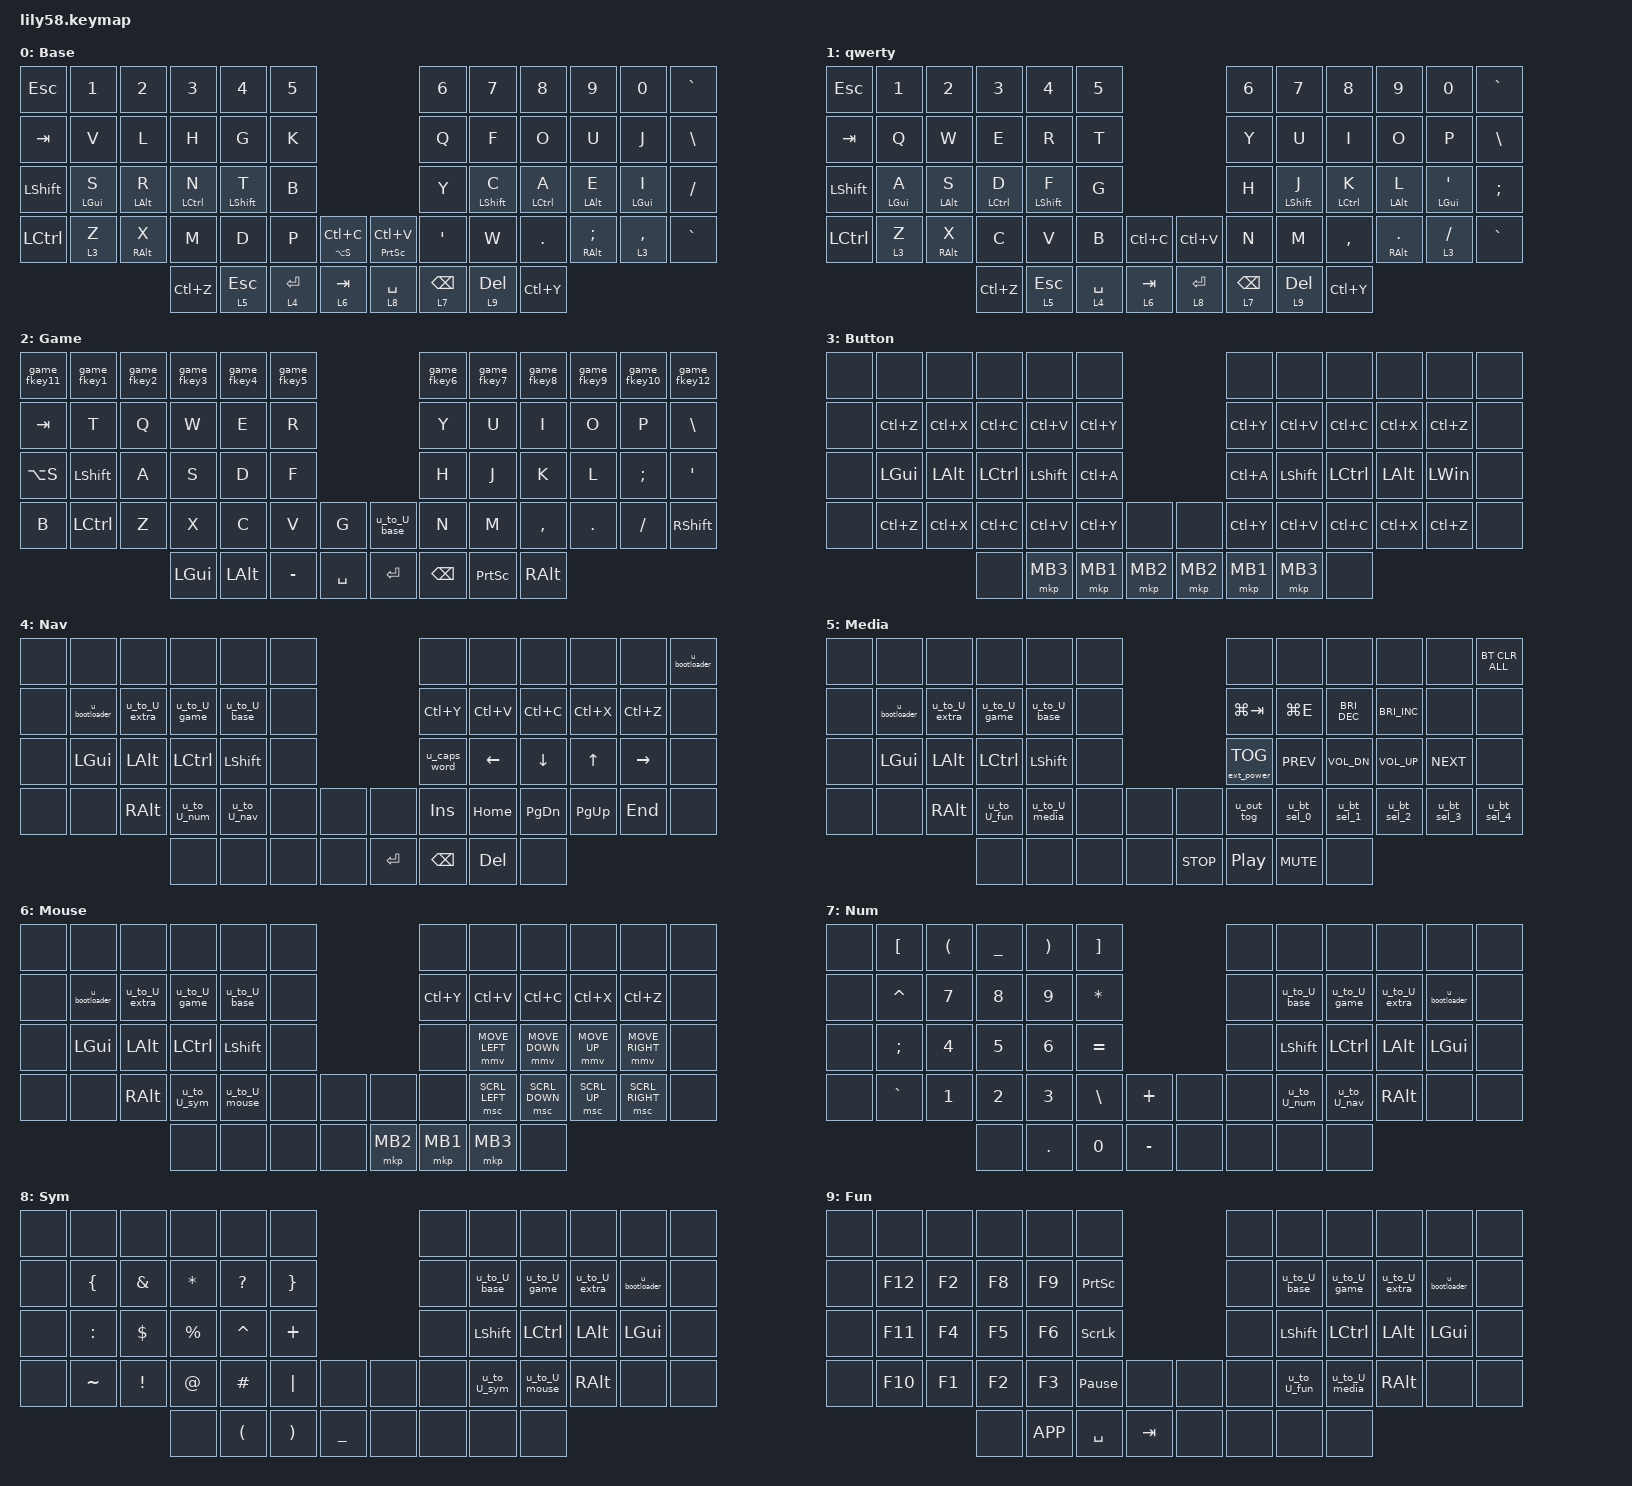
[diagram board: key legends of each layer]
/*
 * Copyright (c) 2020 The ZMK Contributors
 *
 * SPDX-License-Identifier: MIT
 */

#include <behaviors.dtsi>
#include <dt-bindings/zmk/bt.h>
#include <dt-bindings/zmk/ext_power.h>
#include <dt-bindings/zmk/keys.h>
#include <dt-bindings/zmk/outputs.h>
#include <dt-bindings/zmk/pointing.h>

&mmv {
    delay-ms = <0>;
    time-to-max-speed-ms = <1500>;
    acceleration-exponent = <1>;
};

/ {
    sensors {
        compatible = "zmk,keymap-sensors";
        sensors = <&left_encoder &right_encoder>;
        triggers-per-rotation = <20>;
    };
};

&nice_view_spi { cs-gpios = <&pro_micro 4 GPIO_ACTIVE_HIGH>; };

/ {
    behaviors {
        u_to_U_base: u_to_U_base {
            compatible = "zmk,behavior-tap-dance";
            label = "U_TO_U_BASE";
            #binding-cells = <0>;
            bindings = <&none>, <&to 0>;
        };

        u_to_U_game: u_to_U_game {
            compatible = "zmk,behavior-tap-dance";
            label = "U_TO_U_GAME";
            #binding-cells = <0>;
            bindings = <&none>, <&to 2>;
        };

        u_to_U_nav: u_to_U_nav {
            compatible = "zmk,behavior-tap-dance";
            label = "U_TO_U_NAV";
            #binding-cells = <0>;
            bindings = <&none>, <&to 4>;
        };

        u_to_U_num: u_to_U_num {
            compatible = "zmk,behavior-tap-dance";
            label = "U_TO_U_NUM";
            #binding-cells = <0>;
            bindings = <&none>, <&to 7>;
        };

        u_to_U_media: u_to_U_media {
            compatible = "zmk,behavior-tap-dance";
            label = "U_TO_U_MEDIA";
            #binding-cells = <0>;
            bindings = <&none>, <&to 5>;
        };

        u_to_U_fun: u_to_U_fun {
            compatible = "zmk,behavior-tap-dance";
            label = "U_TO_U_FUN";
            #binding-cells = <0>;
            bindings = <&none>, <&to 9>;
        };

        u_to_U_mouse: u_to_U_mouse {
            compatible = "zmk,behavior-tap-dance";
            label = "U_TO_U_MOUSE";
            #binding-cells = <0>;
            bindings = <&none>, <&to 6>;
        };

        u_to_U_sym: u_to_U_sym {
            compatible = "zmk,behavior-tap-dance";
            label = "U_TO_U_SYM";
            #binding-cells = <0>;
            bindings = <&none>, <&to 8>;
        };

        u_bootloader: u_bootloader {
            compatible = "zmk,behavior-tap-dance";
            label = "U_BOOTLOADER";
            #binding-cells = <0>;
            bindings = <&none>, <&bootloader>;
        };

        u_bt_sel_0: u_bt_sel_0 {
            compatible = "zmk,behavior-mod-morph";
            label = "U_BT_SEL_0";
            bindings = <&bt BT_SEL 0>, <&u_macro_u_bt_sel_0>;

            #binding-cells = <0>;
            mods = <(MOD_LSFT|MOD_RSFT)>;
        };

        u_bt_sel_1: u_bt_sel_1 {
            compatible = "zmk,behavior-mod-morph";
            label = "U_BT_SEL_1";
            bindings = <&bt BT_SEL 1>, <&u_macro_u_bt_sel_1>;

            #binding-cells = <0>;
            mods = <(MOD_LSFT|MOD_RSFT)>;
        };

        u_bt_sel_2: u_bt_sel_2 {
            compatible = "zmk,behavior-mod-morph";
            label = "U_BT_SEL_2";
            bindings = <&bt BT_SEL 2>, <&u_macro_u_bt_sel_2>;

            #binding-cells = <0>;
            mods = <(MOD_LSFT|MOD_RSFT)>;
        };

        u_bt_sel_3: u_bt_sel_3 {
            compatible = "zmk,behavior-mod-morph";
            label = "U_BT_SEL_3";
            bindings = <&bt BT_SEL 3>, <&u_macro_u_bt_sel_3>;

            #binding-cells = <0>;
            mods = <(MOD_LSFT|MOD_RSFT)>;
        };

        u_bt_sel_4: u_bt_sel_4 {
            compatible = "zmk,behavior-mod-morph";
            label = "U_BT_SEL_4";
            bindings = <&bt BT_SEL 4>, <&u_macro_u_bt_sel_4>;

            #binding-cells = <0>;
            mods = <(MOD_LSFT|MOD_RSFT)>;
        };

        u_out_tog: u_out_tog {
            compatible = "zmk,behavior-mod-morph";
            label = "U_OUT_TOG";
            bindings = <&out OUT_TOG>, <&out OUT_USB>;

            #binding-cells = <0>;
            mods = <(MOD_LSFT|MOD_RSFT)>;
        };

        u_caps_word: u_caps_word {
            compatible = "zmk,behavior-mod-morph";
            label = "U_CAPS_WORD";
            bindings = <&caps_word>, <&kp CAPS>;

            #binding-cells = <0>;
            mods = <(MOD_LSFT|MOD_RSFT)>;
        };

        u_to_U_extra: u_to_U_extra {
            compatible = "zmk,behavior-tap-dance";
            label = "U_TO_U_EXTRA";
            #binding-cells = <0>;
            bindings = <&none>, <&to 1>;
        };

        home_row_mod_left: home_row_mod_left {
            compatible = "zmk,behavior-hold-tap";
            label = "HOME_ROW_MOD_LEFT";
            bindings = <&kp>, <&kp>;

            #binding-cells = <2>;
            flavor = "balanced";
            require-prior-idle-ms = <150>;
            quick-tap-ms = <175>;
            tapping-term-ms = <280>;
            hold-trigger-on-release;
            hold-trigger-key-positions = <30 31 32 33 34 18 19 20 21 22 30 31 32 33 34 44 45 46 47 48 6 7 8 9 10 49 11 23 35>;
        };

        home_row_mod_right: home_row_mod_right {
            compatible = "zmk,behavior-hold-tap";
            label = "HOME_ROW_MOD_RIGHT";
            bindings = <&kp>, <&kp>;

            #binding-cells = <2>;
            tapping-term-ms = <280>;
            quick-tap-ms = <175>;
            require-prior-idle-ms = <150>;
            flavor = "balanced";
            hold-trigger-key-positions = <0 1 2 3 4 5 12 13 14 15 16 17 24 25 26 27 28 29 37 38 39 40 41 36>;
            hold-trigger-on-release;
        };

        u_to_U_button: u_to_U_button {
            compatible = "zmk,behavior-tap-dance";
            label = "U_TO_U_BUTTON";
            #binding-cells = <0>;
            bindings = <&none>, <&to 3>;
        };

        auto_shift: auto_shift {
            compatible = "zmk,behavior-hold-tap";
            label = "AUTO_SHIFT";
            bindings = <&kp>, <&kp>;

            #binding-cells = <2>;
            tapping-term-ms = <135>;
            quick-tap-ms = <0>;
            flavor = "tap-preferred";
        };

        game_fkey1: game_fkey1 {
            compatible = "zmk,behavior-mod-morph";
            label = "GAME_FKEY1";
            bindings = <&kp NUMBER_1>, <&kp F1>;

            #binding-cells = <0>;
            mods = <(MOD_RALT)>;
        };

        game_fkey2: game_fkey2 {
            compatible = "zmk,behavior-mod-morph";
            label = "GAME_FKEY2";
            bindings = <&kp NUMBER_2>, <&kp F2>;

            #binding-cells = <0>;
            mods = <(MOD_RALT)>;
        };

        game_fkey3: game_fkey3 {
            compatible = "zmk,behavior-mod-morph";
            label = "GAME_FKEY3";
            bindings = <&kp NUMBER_3>, <&kp F3>;

            #binding-cells = <0>;
            mods = <(MOD_RALT)>;
        };

        game_fkey4: game_fkey4 {
            compatible = "zmk,behavior-mod-morph";
            label = "GAME_FKEY4";
            bindings = <&kp NUMBER_4>, <&kp F4>;

            #binding-cells = <0>;
            mods = <(MOD_RALT)>;
        };

        game_fkey5: game_fkey5 {
            compatible = "zmk,behavior-mod-morph";
            label = "GAME_FKEY5";
            bindings = <&kp NUMBER_5>, <&kp F5>;

            #binding-cells = <0>;
            mods = <(MOD_RALT)>;
        };

        game_fkey6: game_fkey6 {
            compatible = "zmk,behavior-mod-morph";
            label = "GAME_FKEY6";
            bindings = <&kp NUMBER_6>, <&kp F6>;

            #binding-cells = <0>;
            mods = <(MOD_RALT)>;
        };

        game_fkey7: game_fkey7 {
            compatible = "zmk,behavior-mod-morph";
            label = "GAME_FKEY7";
            bindings = <&kp NUMBER_7>, <&kp F7>;

            #binding-cells = <0>;
            mods = <(MOD_RALT)>;
        };

        game_fkey8: game_fkey8 {
            compatible = "zmk,behavior-mod-morph";
            label = "GAME_FKEY8";
            bindings = <&kp NUMBER_8>, <&kp F8>;

            #binding-cells = <0>;
            mods = <(MOD_RALT)>;
        };

        game_fkey9: game_fkey9 {
            compatible = "zmk,behavior-mod-morph";
            label = "GAME_FKEY9";
            bindings = <&kp NUMBER_9>, <&kp F9>;

            #binding-cells = <0>;
            mods = <(MOD_RALT)>;
        };

        game_fkey10: game_fkey10 {
            compatible = "zmk,behavior-mod-morph";
            label = "GAME_FKEY10";
            bindings = <&kp NUMBER_0>, <&kp F10>;

            #binding-cells = <0>;
            mods = <(MOD_RALT)>;
        };

        game_fkey11: game_fkey11 {
            compatible = "zmk,behavior-mod-morph";
            label = "GAME_FKEY11";
            bindings = <&kp ESCAPE>, <&kp F11>;

            #binding-cells = <0>;
            mods = <(MOD_RALT)>;
        };

        game_fkey12: game_fkey12 {
            compatible = "zmk,behavior-mod-morph";
            label = "GAME_FKEY12";
            bindings = <&kp GRAVE>, <&kp F12>;

            #binding-cells = <0>;
            mods = <(MOD_RALT)>;
        };
    };

    combos {
        compatible = "zmk,combos";

        DUALLOCK {
            bindings = <&kp CAPS>;
            key-positions = <28 31>;
            layers = <0>;
        };
    };

    macros {
        u_macro_u_bt_sel_0: u_macro_u_bt_sel_0 {
            compatible = "zmk,behavior-macro";
            #binding-cells = <0>;
            bindings = <&bt BT_SEL 0 &bt BT_CLR>;
            label = "U_MACRO_U_BT_SEL_0";
        };

        u_macro_u_bt_sel_1: u_macro_u_bt_sel_1 {
            compatible = "zmk,behavior-macro";
            #binding-cells = <0>;
            bindings = <&bt BT_SEL 1 &bt BT_CLR>;
            label = "U_MACRO_U_BT_SEL_1";
        };

        u_macro_u_bt_sel_2: u_macro_u_bt_sel_2 {
            compatible = "zmk,behavior-macro";
            #binding-cells = <0>;
            bindings = <&bt BT_SEL 2 &bt BT_CLR>;
            label = "U_MACRO_U_BT_SEL_2";
        };

        u_macro_u_bt_sel_3: u_macro_u_bt_sel_3 {
            compatible = "zmk,behavior-macro";
            #binding-cells = <0>;
            bindings = <&bt BT_SEL 3 &bt BT_CLR>;
            label = "U_MACRO_U_BT_SEL_3";
        };

        u_macro_u_bt_sel_4: u_macro_u_bt_sel_4 {
            compatible = "zmk,behavior-macro";
            #binding-cells = <0>;
            bindings = <&bt BT_SEL 4 &bt BT_CLR>;
            label = "U_MACRO_U_BT_SEL_4";
        };
    };

    keymap {
        compatible = "zmk,keymap";

        BASE {
            display-name = "Base";
            bindings = <
&kp ESC         &kp NUMBER_1                   &kp NUMBER_2                   &kp NUMBER_3                &kp NUMBER_4                     &kp NUMBER_5                                                                           &kp NUMBER_6     &kp NUMBER_7                      &kp NUMBER_8                        &kp NUMBER_9                    &kp NUMBER_0                    &kp GRAVE
&kp TAB         &kp V                          &kp L                          &kp H                       &kp G                            &kp K                                                                                  &kp Q            &kp F                             &kp O                               &kp U                           &kp J                           &kp BACKSLASH
&kp LEFT_SHIFT  &home_row_mod_left LEFT_GUI S  &home_row_mod_left LEFT_ALT R  &home_row_mod_left LCTRL N  &home_row_mod_left LEFT_SHIFT T  &kp B                                                                                  &kp Y            &home_row_mod_right LEFT_SHIFT C  &home_row_mod_right LEFT_CONTROL A  &home_row_mod_right LEFT_ALT E  &home_row_mod_right LEFT_GUI I  &kp SLASH
&kp LCTRL       &lt 3 Z                        &home_row_mod_left RALT X      &kp M                       &kp D                            &kp P         &home_row_mod_left LA(S) LC(C)    &home_row_mod_right PRINTSCREEN LC(V)  &kp SQT          &kp W                             &kp PERIOD                          &home_row_mod_right RALT SEMI   &lt 3 COMMA                     &kp GRAVE
                                                                              &kp LC(Z)                   &lt 5 ESCAPE                     &lt 4 ENTER   &lt 6 TAB                         &lt 8 SPACE                            &lt 7 BACKSPACE  &lt 9 DELETE                      &kp LC(Y)
            >;

            label = "Base";
        };

        EXTRA {
            display-name = "qwerty";
            bindings = <
&kp ESC         &kp NUMBER_1                   &kp NUMBER_2                   &kp NUMBER_3                &kp NUMBER_4                     &kp NUMBER_5                            &kp NUMBER_6     &kp NUMBER_7                      &kp NUMBER_8                        &kp NUMBER_9                    &kp NUMBER_0                      &kp GRAVE
&kp TAB         &kp Q                          &kp W                          &kp E                       &kp R                            &kp T                                   &kp Y            &kp U                             &kp I                               &kp O                           &kp P                             &kp BACKSLASH
&kp LEFT_SHIFT  &home_row_mod_left LEFT_GUI A  &home_row_mod_left LEFT_ALT S  &home_row_mod_left LCTRL D  &home_row_mod_left LEFT_SHIFT F  &kp G                                   &kp H            &home_row_mod_right LEFT_SHIFT J  &home_row_mod_right LEFT_CONTROL K  &home_row_mod_right LEFT_ALT L  &home_row_mod_right LEFT_GUI SQT  &kp SEMICOLON
&kp LCTRL       &lt 3 Z                        &home_row_mod_left RALT X      &kp C                       &kp V                            &kp B         &kp LC(C)    &kp LC(V)    &kp N            &kp M                             &kp COMMA                           &home_row_mod_right RALT DOT    &lt 3 FSLH                        &kp GRAVE
                                                                              &kp LC(Z)                   &lt 5 ESCAPE                     &lt 4 SPACE   &lt 6 TAB    &lt 8 ENTER  &lt 7 BACKSPACE  &lt 9 DELETE                      &kp LC(Y)
            >;

            label = "Extra";
        };

        GAME {
            display-name = "Game";
            bindings = <
&game_fkey11  &game_fkey1  &game_fkey2  &game_fkey3   &game_fkey4   &game_fkey5                             &game_fkey6    &game_fkey7      &game_fkey8  &game_fkey9  &game_fkey10   &game_fkey12
&kp TAB       &kp T        &kp Q        &kp W         &kp E         &kp R                                   &kp Y          &kp U            &kp I        &kp O        &kp P          &kp BACKSLASH
&kp LA(S)     &kp LSHFT    &kp A        &kp S         &kp D         &kp F                                   &kp H          &kp J            &kp K        &kp L        &kp SEMICOLON  &kp SQT
&kp B         &kp LCTRL    &kp Z        &kp X         &kp C         &kp V        &kp G        &u_to_U_base  &kp N          &kp M            &kp COMMA    &kp DOT      &kp SLASH      &kp RSHFT
                                        &kp LEFT_GUI  &kp LEFT_ALT  &kp MINUS    &kp SPACE    &kp ENTER     &kp BACKSPACE  &kp PRINTSCREEN  &kp RALT
            >;

            label = "Game";
        };

        BUTTON {
            display-name = "Button";
            bindings = <
&none  &none         &none         &none      &none       &none                            &none      &none           &none      &none         &none         &none
&none  &kp LC(Z)     &kp LC(X)     &kp LC(C)  &kp LC(V)   &kp LC(Y)                        &kp LC(Y)  &kp LC(V)       &kp LC(C)  &kp LC(X)     &kp LC(Z)     &none
&none  &kp LEFT_GUI  &kp LEFT_ALT  &kp LCTRL  &kp LSHIFT  &kp LC(A)                        &kp LC(A)  &kp LEFT_SHIFT  &kp LCTRL  &kp LEFT_ALT  &kp LEFT_WIN  &none
&none  &kp LC(Z)     &kp LC(X)     &kp LC(C)  &kp LC(V)   &kp LC(Y)  &none       &none     &kp LC(Y)  &kp LC(V)       &kp LC(C)  &kp LC(X)     &kp LC(Z)     &none
                                   &none      &mkp MB3    &mkp MB1   &mkp MB2    &mkp MB2  &mkp MB1   &mkp MB3        &none
            >;

            label = "Button";
        };

        NAV {
            display-name = "Nav";
            bindings = <
&none  &none          &none          &none         &none           &none                      &none          &none      &none          &none         &none      &u_bootloader
&none  &u_bootloader  &u_to_U_extra  &u_to_U_game  &u_to_U_base    &none                      &kp LC(Y)      &kp LC(V)  &kp LC(C)      &kp LC(X)     &kp LC(Z)  &none
&none  &kp LEFT_GUI   &kp LEFT_ALT   &kp LCTRL     &kp LEFT_SHIFT  &none                      &u_caps_word   &kp LEFT   &kp DOWN       &kp UP_ARROW  &kp RIGHT  &none
&none  &none          &kp RALT       &u_to_U_num   &u_to_U_nav     &none  &none    &none      &kp INS        &kp HOME   &kp PAGE_DOWN  &kp PAGE_UP   &kp END    &none
                                     &none         &none           &none  &none    &kp ENTER  &kp BACKSPACE  &kp DEL    &none
            >;

            label = "Nav";
        };

        MEDIA {
            display-name = "Media";
            bindings = <
&none  &none          &none          &none         &none           &none                       &none              &none        &none                 &none                 &none        &bt BT_CLR_ALL
&none  &u_bootloader  &u_to_U_extra  &u_to_U_game  &u_to_U_base    &none                       &kp LG(TAB)        &kp LG(E)    &kp C_BRIGHTNESS_DEC  &kp C_BRIGHTNESS_INC  &none        &none
&none  &kp LEFT_GUI   &kp LEFT_ALT   &kp LCTRL     &kp LEFT_SHIFT  &none                       &ext_power EP_TOG  &kp C_PREV   &kp C_VOL_DN          &kp C_VOL_UP          &kp C_NEXT   &none
&none  &none          &kp RALT       &u_to_U_fun   &u_to_U_media   &none  &none    &none       &u_out_tog         &u_bt_sel_0  &u_bt_sel_1           &u_bt_sel_2           &u_bt_sel_3  &u_bt_sel_4
                                     &none         &none           &none  &none    &kp C_STOP  &kp C_PLAY_PAUSE   &kp C_MUTE   &none
            >;

            label = "Media";
        };

        MOUSE {
            display-name = "Mouse";
            bindings = <
&none  &none          &none          &none         &none           &none                     &none      &none           &none           &none         &none            &none
&none  &u_bootloader  &u_to_U_extra  &u_to_U_game  &u_to_U_base    &none                     &kp LC(Y)  &kp LC(V)       &kp LC(C)       &kp LC(X)     &kp LC(Z)        &none
&none  &kp LEFT_GUI   &kp LEFT_ALT   &kp LCTRL     &kp LEFT_SHIFT  &none                     &none      &mmv MOVE_LEFT  &mmv MOVE_DOWN  &mmv MOVE_UP  &mmv MOVE_RIGHT  &none
&none  &none          &kp RALT       &u_to_U_sym   &u_to_U_mouse   &none  &none    &none     &none      &msc SCRL_LEFT  &msc SCRL_DOWN  &msc SCRL_UP  &msc SCRL_RIGHT  &none
                                     &none         &none           &none  &none    &mkp MB2  &mkp MB1   &mkp MB3        &none
            >;

            label = "Mouse";
        };

        NUM {
            display-name = "Num";
            bindings = <
&none  &kp LEFT_BRACKET  &kp LEFT_PARENTHESIS  &kp UNDER     &kp RIGHT_PARENTHESIS  &kp RIGHT_BRACKET                      &none  &none           &none         &none          &none          &none
&none  &kp CARET         &kp NUMBER_7          &kp NUMBER_8  &kp NUMBER_9           &kp ASTERISK                           &none  &u_to_U_base    &u_to_U_game  &u_to_U_extra  &u_bootloader  &none
&none  &kp SEMICOLON     &kp NUMBER_4          &kp NUMBER_5  &kp NUMBER_6           &kp EQUAL                              &none  &kp LEFT_SHIFT  &kp LCTRL     &kp LEFT_ALT   &kp LEFT_GUI   &none
&none  &kp GRAVE         &kp NUMBER_1          &kp NUMBER_2  &kp NUMBER_3           &kp BACKSLASH      &kp PLUS     &none  &none  &u_to_U_num     &u_to_U_nav   &kp RALT       &none          &none
                                               &none         &kp PERIOD             &kp NUMBER_0       &kp MINUS    &none  &none  &none           &none
            >;

            label = "Num";
        };

        SYM {
            display-name = "Sym";
            bindings = <
&none  &none           &none            &none        &none                 &none                                      &none  &none           &none          &none          &none          &none
&none  &kp LEFT_BRACE  &kp AMPS         &kp ASTRK    &kp QMARK             &kp RIGHT_BRACE                            &none  &u_to_U_base    &u_to_U_game   &u_to_U_extra  &u_bootloader  &none
&none  &kp COLON       &kp DOLLAR       &kp PERCENT  &kp CARET             &kp PLUS                                   &none  &kp LEFT_SHIFT  &kp LCTRL      &kp LEFT_ALT   &kp LEFT_GUI   &none
&none  &kp TILDE       &kp EXCLAMATION  &kp AT_SIGN  &kp HASH              &kp PIPE               &none        &none  &none  &u_to_U_sym     &u_to_U_mouse  &kp RALT       &none          &none
                                        &none        &kp LEFT_PARENTHESIS  &kp RIGHT_PARENTHESIS  &kp UNDER    &none  &none  &none           &none
            >;

            label = "Sym";
        };

        FUN {
            display-name = "Fun";
            bindings = <
&none  &none    &none   &none   &none      &none                              &none  &none           &none          &none          &none          &none
&none  &kp F12  &kp F2  &kp F8  &kp F9     &kp PRINTSCREEN                    &none  &u_to_U_base    &u_to_U_game   &u_to_U_extra  &u_bootloader  &none
&none  &kp F11  &kp F4  &kp F5  &kp F6     &kp SCROLLLOCK                     &none  &kp LEFT_SHIFT  &kp LCTRL      &kp LEFT_ALT   &kp LEFT_GUI   &none
&none  &kp F10  &kp F1  &kp F2  &kp F3     &kp PAUSE_BREAK  &none      &none  &none  &u_to_U_fun     &u_to_U_media  &kp RALT       &none          &none
                        &none   &kp K_APP  &kp SPACE        &kp TAB    &none  &none  &none           &none
            >;

            label = "Fun";
        };
    };
};
